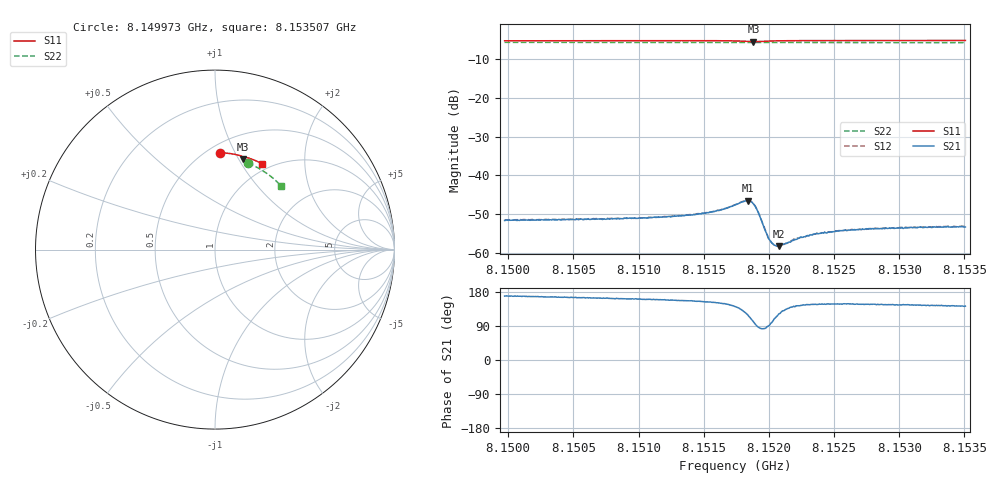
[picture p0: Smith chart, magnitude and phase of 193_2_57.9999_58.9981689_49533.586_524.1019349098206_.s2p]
#  HZ  S  RI  R  50.00
! Rohde & Schwarz Vector Network Analyzer
! Rohde-Schwarz,ZNB20-2Port,1311601062101988,3.16
! Created: UTC 3/21/2024, 12:58:55 AM
! freq[Hz]  re:S11  im:S11  re:S21  im:S21  re:S12  im:S12  re:S22  im:S22
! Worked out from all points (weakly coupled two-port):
!   401 points, 8.149973 GHz to 8.153507 GHz, reference 50 ohm
!   highest |S21| = -46.47 dB at 8.151837 GHz (marker M1); lowest = -58.2 dB at 8.152075 GHz (marker M2)
!   lowest |S11| = -5.6 dB at 8.151881 GHz (marker M3), VSWR 3.22, Z = 37.4 + j52 ohm
!   |S11| at or under -10 dB: nowhere
!   |S22| runs from -5.8 to -5.7 dB; largest |S21 - S12| = 0.00012
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8.1499725e9  0.0289 0.5394  -0.00258 0.000518  -0.00262 0.000542  0.1845 0.4816
8.1505645e9  0.0706 0.5367  -0.00264 0.000734  -0.0026 0.000773  0.2194 0.466
8.1511565e9  0.112 0.5303  -0.0027 0.00103  -0.00273 0.00109  0.2532 0.4477
8.1514128e9  0.1304 0.5263  -0.00283 0.00125  -0.00284 0.0013  0.2672 0.4392
8.1515542e9  0.141 0.5231  -0.003 0.00153  -0.00297 0.00157  0.2749 0.4341
8.151669e9  0.1501 0.5193  -0.00318 0.00201  -0.00315 0.00206  0.281 0.4299
8.1517397e9  0.1558 0.5156  -0.00326 0.00261  -0.00323 0.00268  0.2848 0.4272
8.1518016e9  0.1595 0.5098  -0.00294 0.00353  -0.00293 0.00361  0.2879 0.4248
8.1518369e9  0.1593 0.5056  -0.00231 0.00415  -0.00225 0.00418  0.2896 0.4235
8.1518634e9  0.1573 0.5033  -0.00144 0.00435  -0.00135 0.00442  0.2907 0.4224
8.1518811e9  0.1552 0.503  -0.000788 0.00423  -0.000713 0.00426  0.2916 0.4219
8.1519164e9  0.1523 0.5055  0.000169 0.00338  0.000201 0.00342  0.2933 0.4207
8.1519783e9  0.1549 0.5118  0.00016 0.00185  0.000196 0.00184  0.2966 0.4186
8.1520048e9  0.1574 0.5131  -5.16e-05 0.00148  -3.67e-05 0.00149  0.2979 0.4178
8.1520401e9  0.161 0.5142  -0.000399 0.0012  -0.000386 0.00121  0.2999 0.4165
8.1520755e9  0.1643 0.5145  -0.000645 0.00104  -0.000613 0.00107  0.3018 0.4151
8.1521373e9  0.1699 0.514  -0.000941 0.000943  -0.00094 0.000962  0.3049 0.4127
8.152208e9  0.1758 0.513  -0.0012 0.000899  -0.00119 0.000954  0.3085 0.4098
8.1523317e9  0.1851 0.5107  -0.00142 0.00094  -0.00144 0.000984  0.3148 0.405
8.1525615e9  0.2012 0.5053  -0.00163 0.00105  -0.00165 0.00106  0.3261 0.3956
8.1529237e9  0.2253 0.4959  -0.00174 0.00117  -0.00174 0.0012  0.3433 0.38
8.1535069e9  0.262 0.4785  -0.00171 0.00133  -0.00174 0.00136  0.3693 0.3536
